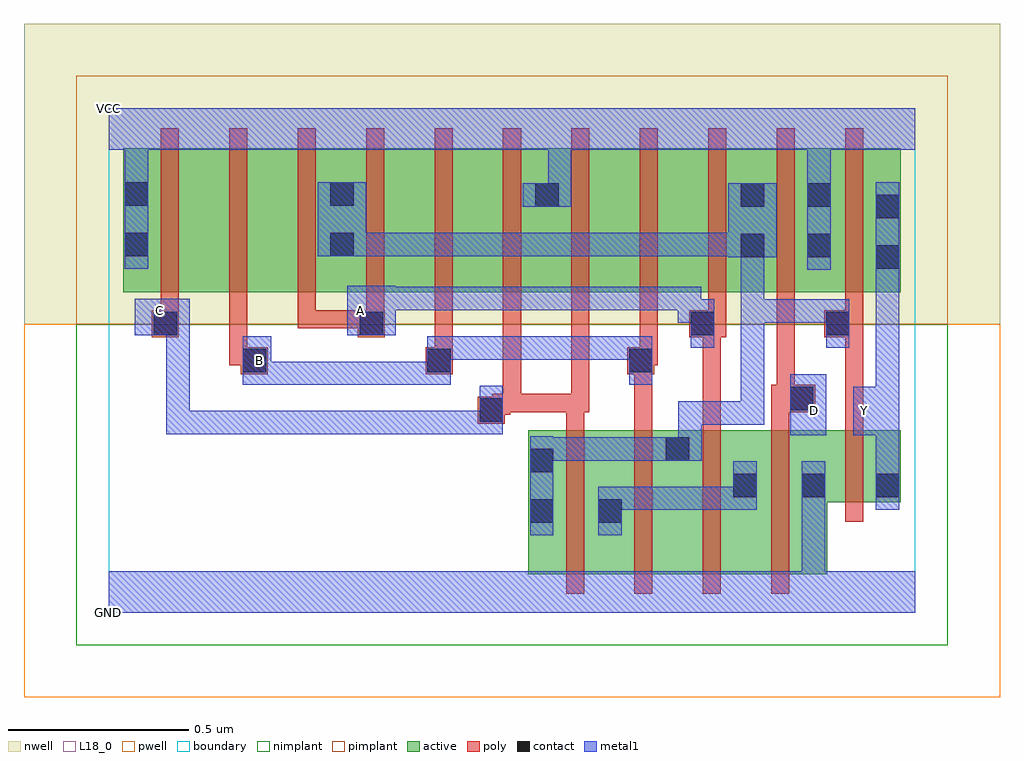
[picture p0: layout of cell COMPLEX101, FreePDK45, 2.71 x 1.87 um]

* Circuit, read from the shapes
.subckt COMPLEX101 A B C D GND VCC Y
M1 n1 C n2 VSUBS nfet w=0.4u l=0.05u
M2 n2 B n1 VSUBS nfet w=0.4u l=0.05u
M3 n1 A n2 VSUBS nfet w=0.4u l=0.05u
M4 GND D n1 VSUBS nfet w=0.4u l=0.05u
M5 Y n2 GND VSUBS nfet w=0.2u l=0.05u
M6 n3 C VCC n4 pfet w=0.4u l=0.05u
M7 n5 B n3 n4 pfet w=0.4u l=0.05u
M8 n2 A n5 n4 pfet w=0.4u l=0.05u
M9 n6 A n2 n4 pfet w=0.4u l=0.05u
M10 n7 B n6 n4 pfet w=0.4u l=0.05u
M11 VCC C n7 n4 pfet w=0.4u l=0.05u
M12 n8 C VCC n4 pfet w=0.4u l=0.05u
M13 n9 B n8 n4 pfet w=0.4u l=0.05u
M14 n2 A n9 n4 pfet w=0.4u l=0.05u
M15 VCC D n2 n4 pfet w=0.4u l=0.05u
M16 Y n2 VCC n4 pfet w=0.4u l=0.05u
.ends

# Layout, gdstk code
import gdstk
lib = gdstk.Library(unit=1e-6, precision=1e-09)
def R(c, l, rs):  # rectangles x0, y0, x1, y1
    for r in rs: c.add(gdstk.rectangle(r[:2], r[2:], *l))
def A(c, l, x, y, w, h, nx, ny, dx, dy):  # array of equal rectangles
    R(c, l, [(x+i*dx, y+j*dy, x+i*dx+w, y+j*dy+h) for i in range(nx) for j in range(ny)])
active = (1, 0)
pwell = (2, 0)
nwell = (3, 0)
nimplant = (4, 0)
pimplant = (5, 0)
poly = (9, 0)
contact = (10, 0)
metal1 = (11, 0)
L18_0 = (18, 0)
boundary = (235, 0)

complex101 = lib.new_cell('COMPLEX101')
A(complex101, active, 0.04, 0.89, 0.225, 0.4, 3, 1, 0.57, 0)
A(complex101, active, 0.265, 0.89, 0.19, 0.4, 3, 1, 0.57, 0)
A(complex101, active, 0.455, 0.89, 0.23, 0.4, 3, 1, 0.57, 0)
R(complex101, active, [(1.165,0.107,1.43,0.507), (1.355,0.107,1.617,0.507), (1.542,0.107,1.805,0.507), (1.73,0.107,1.995,0.507), (1.165,0.2,1.24,0.507), (1.355,0.2,1.43,0.492), (1.73,0.2,1.805,0.492), (1.92,0.307,2.2,0.507), (2.125,0.307,2.2,0.507), (1.92,0.315,1.995,0.432), (1.542,0.33,1.617,0.492), (0.04,0.89,0.115,1.29), (0.61,0.89,0.685,1.2), (1.18,0.89,1.255,1.29), (1.75,0.89,1.825,1.2), (1.75,0.89,2.01,1.29), (1.935,0.89,2.2,1.29), (1.935,0.89,2.01,1.29), (2.125,0.89,2.2,1.2)])
R(complex101, pwell, [(-0.235,-0.235,2.475,0.8)])
R(complex101, nwell, [(-0.235,0.8,2.475,1.635)])
R(complex101, nimplant, [(-0.09,-0.09,2.33,0.8)])
R(complex101, pimplant, [(-0.09,0.8,2.33,1.49)])
A(complex101, poly, 1.27, 0.052, 0.05, 0.51, 4, 1, 0.19, 0)
A(complex101, poly, 0.335, 0.687, 0.05, 0.198, 3, 1, 0.57, 0)
A(complex101, poly, 0.145, 0.835, 0.05, 0.51, 11, 1, 0.19, 0)
R(complex101, poly, [(2.045,0.252,2.095,0.562), (1.27,0.512,1.32,0.607), (1.46,0.512,1.51,0.712), (1.65,0.512,1.7,0.815), (1.84,0.512,1.89,0.607), (2.045,0.512,2.095,0.815), (1.025,0.525,1.1,0.6), (1.05,0.55,1.1,0.6), (1.05,0.55,1.115,0.6), (1.065,0.55,1.115,0.6), (1.065,0.55,1.115,0.607), (1.065,0.557,1.115,0.607), (1.065,0.557,1.145,0.607), (1.095,0.557,1.145,0.607), (1.095,0.557,1.145,0.607), (1.095,0.557,1.145,0.885), (1.095,0.557,1.32,0.607), (1.27,0.557,1.32,0.607), (1.27,0.557,1.32,0.607), (1.27,0.557,1.335,0.607), (1.285,0.557,1.335,0.885), (1.84,0.557,1.962,0.632), (1.855,0.582,1.905,0.632), (1.855,0.582,1.905,0.632), (1.855,0.582,1.905,0.885), (0.367,0.662,0.442,0.737), (0.88,0.662,0.955,0.737), (1.44,0.662,1.515,0.737), (0.335,0.687,0.417,0.737), (0.367,0.687,0.417,0.737), (0.905,0.687,0.955,0.737), (0.905,0.687,0.955,0.737), (1.465,0.687,1.515,0.737), (1.465,0.687,1.525,0.737), (0.12,0.765,0.195,0.84), (0.692,0.765,0.767,0.84), (1.612,0.765,1.715,0.84), (1.65,0.765,1.7,0.815), (1.65,0.765,1.7,0.815), (1.987,0.765,2.095,0.84), (2.045,0.765,2.095,0.815), (2.045,0.765,2.095,0.815), (0.145,0.79,0.195,0.885), (0.145,0.79,0.195,0.84), (0.145,0.79,0.195,0.84), (0.525,0.79,0.575,0.885), (0.525,0.79,0.575,0.84), (0.525,0.79,0.742,0.84), (0.692,0.79,0.742,0.84), (0.692,0.79,0.742,0.84), (0.715,0.79,0.765,0.885), (1.665,0.79,1.715,0.885), (2.045,0.79,2.095,0.885)])
R(complex101, contact, [(1.17,0.25,1.235,0.315), (1.36,0.25,1.425,0.315), (1.735,0.32,1.8,0.385), (1.925,0.32,1.99,0.385), (2.13,0.32,2.195,0.385), (1.17,0.39,1.235,0.455), (1.547,0.422,1.612,0.487), (1.03,0.53,1.095,0.595), (1.892,0.562,1.957,0.627), (0.372,0.667,0.437,0.732), (0.885,0.667,0.95,0.732), (1.445,0.667,1.51,0.732), (0.125,0.77,0.19,0.835), (0.697,0.77,0.762,0.835), (1.617,0.77,1.682,0.835), (1.992,0.77,2.057,0.835), (2.13,0.955,2.195,1.02), (1.755,0.987,1.82,1.052), (1.94,0.987,2.005,1.052), (0.045,0.99,0.11,1.055), (0.615,0.99,0.68,1.055), (2.13,1.095,2.195,1.16), (1.185,1.127,1.25,1.192), (1.755,1.127,1.82,1.192), (1.94,1.127,2.005,1.192), (0.045,1.13,0.11,1.195), (0.615,1.13,0.68,1.195)])
R(complex101, metal1, [(0,0,2.24,0.115), (1.925,0.05,1.99,0.115), (1.925,0.05,1.99,0.115), (1.925,0.05,1.99,0.35), (1.17,0.215,1.235,0.49), (1.36,0.215,1.425,0.35), (1.36,0.285,1.425,0.35), (1.36,0.285,1.425,0.35), (1.36,0.285,1.647,0.35), (1.582,0.285,1.647,0.35), (1.582,0.285,1.647,0.35), (1.582,0.285,1.647,0.35), (1.582,0.285,1.8,0.35), (1.735,0.285,1.8,0.42), (1.925,0.285,1.99,0.42), (2.13,0.285,2.195,0.42), (2.13,0.355,2.195,0.557), (1.17,0.422,1.235,0.487), (1.17,0.422,1.235,0.487), (1.17,0.422,1.425,0.487), (1.36,0.422,1.425,0.487), (1.36,0.422,1.425,0.487), (1.36,0.422,1.425,0.487), (1.36,0.422,1.577,0.487), (1.512,0.422,1.647,0.487), (1.582,0.422,1.647,0.587), (1.892,0.492,1.992,0.662), (2.067,0.492,2.195,0.627), (0.16,0.495,0.225,0.56), (0.16,0.495,0.362,0.56), (0.16,0.495,0.225,0.835), (0.297,0.495,0.362,0.56), (0.297,0.495,0.362,0.56), (0.297,0.495,0.362,0.56), (0.297,0.495,0.59,0.56), (0.525,0.495,0.59,0.56), (0.525,0.495,0.727,0.56), (0.662,0.495,0.727,0.56), (0.662,0.495,0.727,0.56), (0.662,0.495,0.727,0.56), (0.662,0.495,0.935,0.56), (0.87,0.495,0.935,0.56), (0.87,0.495,0.935,0.56), (0.87,0.495,0.935,0.56), (0.87,0.495,1.072,0.56), (1.007,0.495,1.072,0.56), (1.007,0.495,1.072,0.56), (1.007,0.495,1.072,0.56), (1.007,0.495,1.095,0.56), (1.03,0.495,1.095,0.63), (1.582,0.522,1.647,0.587), (1.582,0.522,1.647,0.587), (1.582,0.522,1.647,0.587), (1.582,0.522,1.82,0.587), (1.755,0.522,1.82,0.587), (1.755,0.522,1.82,0.87), (2.13,0.562,2.195,0.985), (0.372,0.632,0.452,0.767), (0.387,0.632,0.452,0.697), (0.387,0.632,0.452,0.697), (0.387,0.632,0.59,0.697), (0.525,0.632,0.59,0.697), (0.525,0.632,0.59,0.697), (0.525,0.632,0.59,0.697), (0.525,0.632,0.727,0.697), (0.662,0.632,0.727,0.697), (0.662,0.632,0.935,0.697), (0.87,0.632,0.935,0.697), (0.87,0.632,0.95,0.697), (0.885,0.632,0.95,0.767), (1.445,0.632,1.51,0.767), (0.885,0.702,1.077,0.767), (1.012,0.702,1.077,0.767), (1.012,0.702,1.087,0.767), (1.022,0.702,1.087,0.767), (1.022,0.702,1.277,0.767), (1.212,0.702,1.277,0.767), (1.212,0.702,1.277,0.767), (1.212,0.702,1.277,0.767), (1.212,0.702,1.425,0.767), (1.36,0.702,1.425,0.767), (1.36,0.702,1.51,0.767), (1.617,0.735,1.682,0.87), (1.992,0.735,2.057,0.87), (0.072,0.77,0.225,0.872), (0.16,0.77,0.225,0.835), (0.16,0.77,0.225,0.835), (0.662,0.77,0.797,0.907), (1.58,0.805,1.682,0.87), (1.58,0.805,1.645,0.905), (1.755,0.805,1.82,0.87), (1.755,0.805,1.82,0.87), (1.755,0.805,1.82,0.87), (1.755,0.805,1.957,0.87), (1.755,0.805,1.82,1.052), (1.892,0.805,1.957,0.87), (1.892,0.805,2.057,0.87), (0.732,0.84,0.935,0.905), (0.87,0.84,0.935,0.905), (0.87,0.84,0.935,0.905), (0.87,0.84,0.935,0.905), (0.87,0.84,1.072,0.905), (1.007,0.84,1.072,0.905), (1.007,0.84,1.087,0.905), (1.022,0.84,1.087,0.905), (1.022,0.84,1.225,0.905), (1.16,0.84,1.225,0.905), (1.16,0.84,1.225,0.905), (1.16,0.84,1.225,0.905), (1.16,0.84,1.425,0.905), (1.36,0.84,1.425,0.905), (1.36,0.84,1.425,0.905), (1.36,0.84,1.425,0.905), (1.36,0.84,1.645,0.905), (2.13,0.92,2.195,0.985), (2.13,0.92,2.195,0.985), (2.13,0.92,2.195,1.195), (1.94,0.952,2.005,1.227), (0.045,0.955,0.11,1.23), (1.72,0.987,1.855,1.192), (0.58,0.99,0.715,1.195), (0.65,0.99,0.797,1.055), (0.732,0.99,0.797,1.055), (0.732,0.99,0.935,1.055), (0.87,0.99,0.935,1.055), (0.87,0.99,0.935,1.055), (0.87,0.99,0.935,1.055), (0.87,0.99,1.077,1.055), (1.012,0.99,1.077,1.055), (1.012,0.99,1.087,1.055), (1.022,0.99,1.087,1.055), (1.022,0.99,1.287,1.055), (1.222,0.99,1.287,1.055), (1.222,0.99,1.287,1.055), (1.222,0.99,1.287,1.055), (1.222,0.99,1.44,1.055), (1.375,0.99,1.44,1.055), (1.375,0.99,1.44,1.055), (1.375,0.99,1.44,1.055), (1.375,0.99,1.647,1.055), (1.582,0.99,1.647,1.055), (1.582,0.99,1.647,1.055), (1.582,0.99,1.647,1.055), (1.582,0.99,1.785,1.055), (1.15,1.127,1.285,1.192), (1.22,1.127,1.285,1.35), (1.94,1.162,2.005,1.35), (0.045,1.165,0.11,1.35), (0,1.285,2.24,1.4)])
R(complex101, L18_0, [(0,0,2.24,0.115), (1.925,0.05,1.99,0.115), (1.925,0.05,1.99,0.115), (1.925,0.05,1.99,0.35), (1.925,0.285,1.99,0.42), (2.13,0.285,2.195,0.42), (2.13,0.355,2.195,0.557), (1.892,0.492,1.992,0.662), (2.067,0.492,2.195,0.627), (0.16,0.495,0.225,0.56), (0.16,0.495,0.225,0.835), (0.16,0.495,0.362,0.56), (0.297,0.495,0.362,0.56), (0.297,0.495,0.362,0.56), (0.297,0.495,0.362,0.56), (0.297,0.495,0.59,0.56), (0.525,0.495,0.59,0.56), (0.525,0.495,0.727,0.56), (0.662,0.495,0.727,0.56), (0.662,0.495,0.727,0.56), (0.662,0.495,0.727,0.56), (0.662,0.495,0.935,0.56), (0.87,0.495,0.935,0.56), (0.87,0.495,0.935,0.56), (0.87,0.495,0.935,0.56), (0.87,0.495,1.072,0.56), (1.007,0.495,1.072,0.56), (1.007,0.495,1.072,0.56), (1.007,0.495,1.072,0.56), (1.007,0.495,1.095,0.56), (1.03,0.495,1.095,0.63), (1.927,0.527,1.992,0.592), (2.067,0.527,2.132,0.592), (2.13,0.562,2.195,0.985), (0.372,0.632,0.452,0.767), (0.387,0.632,0.452,0.697), (0.387,0.632,0.452,0.697), (0.387,0.632,0.59,0.697), (0.525,0.632,0.59,0.697), (0.525,0.632,0.59,0.697), (0.525,0.632,0.59,0.697), (0.525,0.632,0.727,0.697), (0.662,0.632,0.727,0.697), (0.662,0.632,0.935,0.697), (0.87,0.632,0.935,0.697), (0.87,0.632,0.95,0.697), (0.885,0.632,0.95,0.767), (1.445,0.632,1.51,0.767), (0.387,0.667,0.452,0.732), (0.885,0.702,1.077,0.767), (1.012,0.702,1.077,0.767), (1.012,0.702,1.087,0.767), (1.022,0.702,1.087,0.767), (1.022,0.702,1.277,0.767), (1.212,0.702,1.277,0.767), (1.212,0.702,1.277,0.767), (1.212,0.702,1.277,0.767), (1.212,0.702,1.425,0.767), (1.36,0.702,1.425,0.767), (1.36,0.702,1.51,0.767), (1.617,0.735,1.682,0.87), (0.072,0.77,0.225,0.872), (0.16,0.77,0.225,0.835), (0.16,0.77,0.225,0.835), (0.662,0.77,0.797,0.907), (1.58,0.805,1.645,0.905), (1.58,0.805,1.682,0.87), (0.107,0.807,0.172,0.872), (0.667,0.807,0.732,0.872), (0.732,0.84,0.935,0.905), (0.87,0.84,0.935,0.905), (0.87,0.84,0.935,0.905), (0.87,0.84,0.935,0.905), (0.87,0.84,1.072,0.905), (1.007,0.84,1.072,0.905), (1.007,0.84,1.087,0.905), (1.022,0.84,1.087,0.905), (1.022,0.84,1.225,0.905), (1.16,0.84,1.225,0.905), (1.16,0.84,1.225,0.905), (1.16,0.84,1.225,0.905), (1.16,0.84,1.425,0.905), (1.36,0.84,1.425,0.905), (1.36,0.84,1.425,0.905), (1.36,0.84,1.425,0.905), (1.36,0.84,1.645,0.905), (2.13,0.92,2.195,1.195), (2.13,0.92,2.195,0.985), (2.13,0.92,2.195,0.985), (1.94,0.952,2.005,1.227), (0.045,0.955,0.11,1.23), (1.15,1.127,1.285,1.192), (1.22,1.127,1.285,1.35), (1.94,1.162,2.005,1.35), (0.045,1.165,0.11,1.35), (0,1.285,2.24,1.4)])
R(complex101, boundary, [(0,0,2.24,1.4)])
complex101.add(gdstk.Label('A', (0.7,0.84), layer=11, texttype=0))
complex101.add(gdstk.Label('B', (0.42,0.7), layer=11, texttype=0))
complex101.add(gdstk.Label('C', (0.14,0.84), layer=11, texttype=0))
complex101.add(gdstk.Label('D', (1.96,0.56), layer=11, texttype=0))
complex101.add(gdstk.Label('Y', (2.1,0.56), layer=11, texttype=0))
complex101.add(gdstk.Label('VCC', (0,1.4), layer=11, texttype=0))
complex101.add(gdstk.Label('GND', (0,0), layer=11, texttype=0))

lib.write_gds('COMPLEX101.gds')
